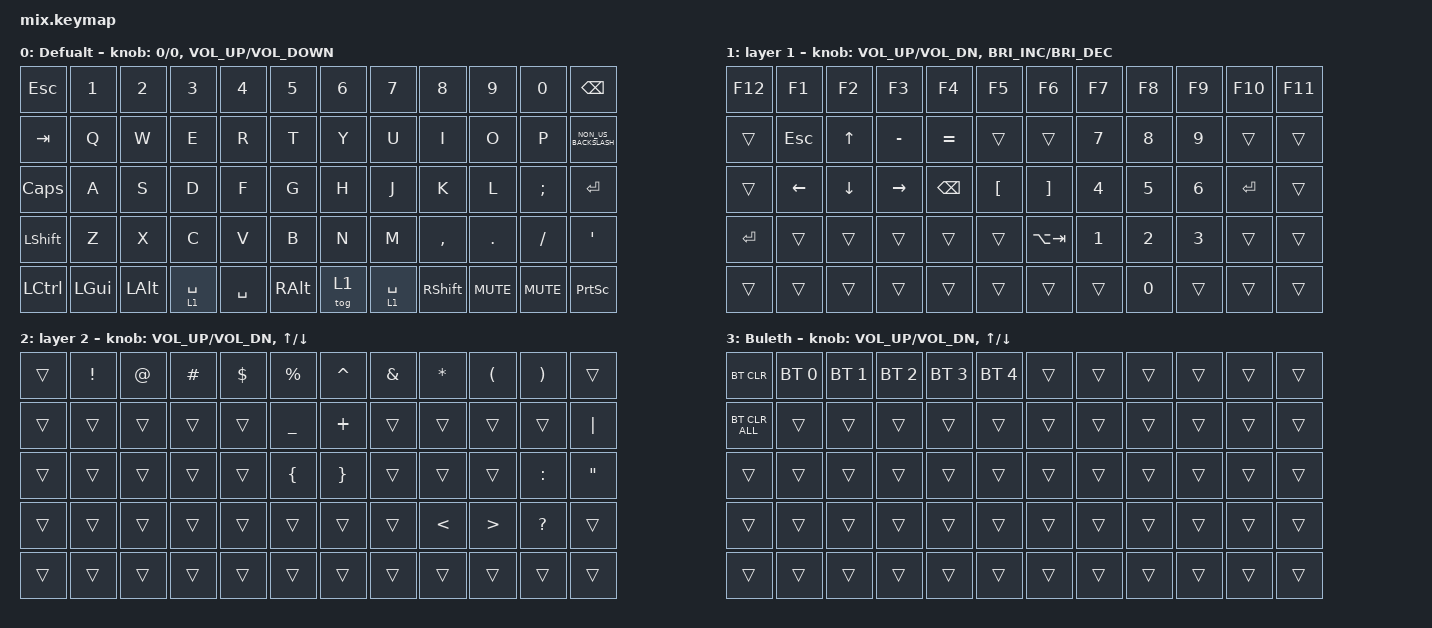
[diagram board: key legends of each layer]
/*
 * Copyright (c) 2020 The ZMK Contributors
 *
 * SPDX-License-Identifier: MIT
 */

#include <behaviors.dtsi>
#include <dt-bindings/zmk/bt.h>
#include <dt-bindings/zmk/keys.h>
#include <dt-bindings/zmk/pointing.h>

#define ZMK_POINTING_DEFAULT_SCRL_VAL 40

/ {
    combos {
        compatible = "zmk,combos";

        boot {
            bindings = <&bootloader>;
            key-positions = <0 11 54 53>;
        };
    };

    behaviors {
        encoder_sc: encoder_sc {
            compatible = "zmk,behavior-sensor-rotate-var";
            label = "ENCODER_SC";
            #sensor-binding-cells = <2>;
            bindings = <&msc>, <&msc>;

            tap-ms = <40>;
        };
    };

    keymap {
        compatible = "zmk,keymap";

        LAYER0 {
            display-name = "Defualt";
            bindings = <
&kp ESCAPE  &kp N1        &kp N2        &kp N3       &kp NUMBER_4  &kp N5         &kp NUMBER_6  &kp N7       &kp N8     &kp N9      &kp N0         &kp BSPC
&kp TAB     &kp Q         &kp W         &kp E        &kp R         &kp T          &kp Y         &kp U        &kp I      &kp O       &kp P          &kp NON_US_BACKSLASH
&kp CAPS    &kp A         &kp S         &kp D        &kp F         &kp G          &kp H         &kp J        &kp K      &kp L       &kp SEMICOLON  &kp RET
&kp LSHFT   &kp Z         &kp X         &kp C        &kp V         &kp B          &kp N         &kp M        &kp COMMA  &kp DOT     &kp FSLH       &kp APOS
&kp LCTRL   &kp LEFT_GUI  &kp LEFT_ALT  &lt 1 SPACE  &kp SPACE     &kp RIGHT_ALT  &tog 1        &lt 1 SPACE  &kp RSHFT  &kp C_MUTE  &kp C_MUTE     &kp PRINTSCREEN
            >;

            sensor-bindings =
                <&inc_dec_kp 0 0>,
                <&inc_dec_kp C_VOLUME_UP C_VOLUME_DOWN>;
        };

        LAYER1 {
            display-name = "layer 1";
            bindings = <
&kp F12  &kp F1          &kp F2          &kp F3           &kp F4         &kp F5            &kp F6             &kp F7        &kp F8        &kp F9        &kp F10  &kp F11
&trans   &kp ESC         &kp UP_ARROW    &kp MINUS        &kp EQUAL      &trans            &trans             &kp NUMBER_7  &kp NUMBER_8  &kp NUMBER_9  &trans   &trans
&trans   &kp LEFT_ARROW  &kp DOWN_ARROW  &kp RIGHT_ARROW  &kp BACKSPACE  &kp LEFT_BRACKET  &kp RIGHT_BRACKET  &kp NUMBER_4  &kp NUMBER_5  &kp NUMBER_6  &kp RET  &trans
&kp RET  &trans          &trans          &trans           &trans         &trans            &kp LA(TAB)        &kp NUMBER_1  &kp NUMBER_2  &kp NUMBER_3  &trans   &trans
&trans   &trans          &trans          &trans           &trans         &trans            &trans             &trans        &kp NUMBER_0  &trans        &trans   &trans
            >;

            sensor-bindings =
                <&inc_dec_kp C_VOL_UP C_VOL_DN>,
                <&inc_dec_kp C_BRI_INC C_BRI_DEC>;
        };

        LAYER2 {
            display-name = "layer 2";
            bindings = <
&trans  &kp EXCLAMATION  &kp AT_SIGN  &kp HASH  &kp DOLLAR  &kp PERCENT     &kp CARET        &kp AMPERSAND  &kp ASTERISK   &kp LEFT_PARENTHESIS  &kp RIGHT_PARENTHESIS  &trans
&trans  &trans           &trans       &trans    &trans      &kp UNDERSCORE  &kp PLUS         &trans         &trans         &trans                &trans                 &kp PIPE
&trans  &trans           &trans       &trans    &trans      &kp LEFT_BRACE  &kp RIGHT_BRACE  &trans         &trans         &trans                &kp COLON              &kp DOUBLE_QUOTES
&trans  &trans           &trans       &trans    &trans      &trans          &trans           &trans         &kp LESS_THAN  &kp GREATER_THAN      &kp QUESTION           &trans
&trans  &trans           &trans       &trans    &trans      &trans          &trans           &trans         &trans         &trans                &trans                 &trans
            >;

            sensor-bindings =
                <&inc_dec_kp C_VOL_UP C_VOL_DN>,
                <&inc_dec_kp UP_ARROW DOWN>;
        };

        LAYER3 {
            display-name = "Buleth";
            bindings = <
&bt BT_CLR      &bt BT_SEL 0  &bt BT_SEL 1  &bt BT_SEL 2  &bt BT_SEL 3  &bt BT_SEL 4  &trans  &trans  &trans  &trans  &trans  &trans
&bt BT_CLR_ALL  &trans        &trans        &trans        &trans        &trans        &trans  &trans  &trans  &trans  &trans  &trans
&trans          &trans        &trans        &trans        &trans        &trans        &trans  &trans  &trans  &trans  &trans  &trans
&trans          &trans        &trans        &trans        &trans        &trans        &trans  &trans  &trans  &trans  &trans  &trans
&trans          &trans        &trans        &trans        &trans        &trans        &trans  &trans  &trans  &trans  &trans  &trans
            >;

            sensor-bindings =
                <&inc_dec_kp C_VOL_UP C_VOL_DN>,
                <&inc_dec_kp UP_ARROW DOWN_ARROW>;
        };
    };
};
